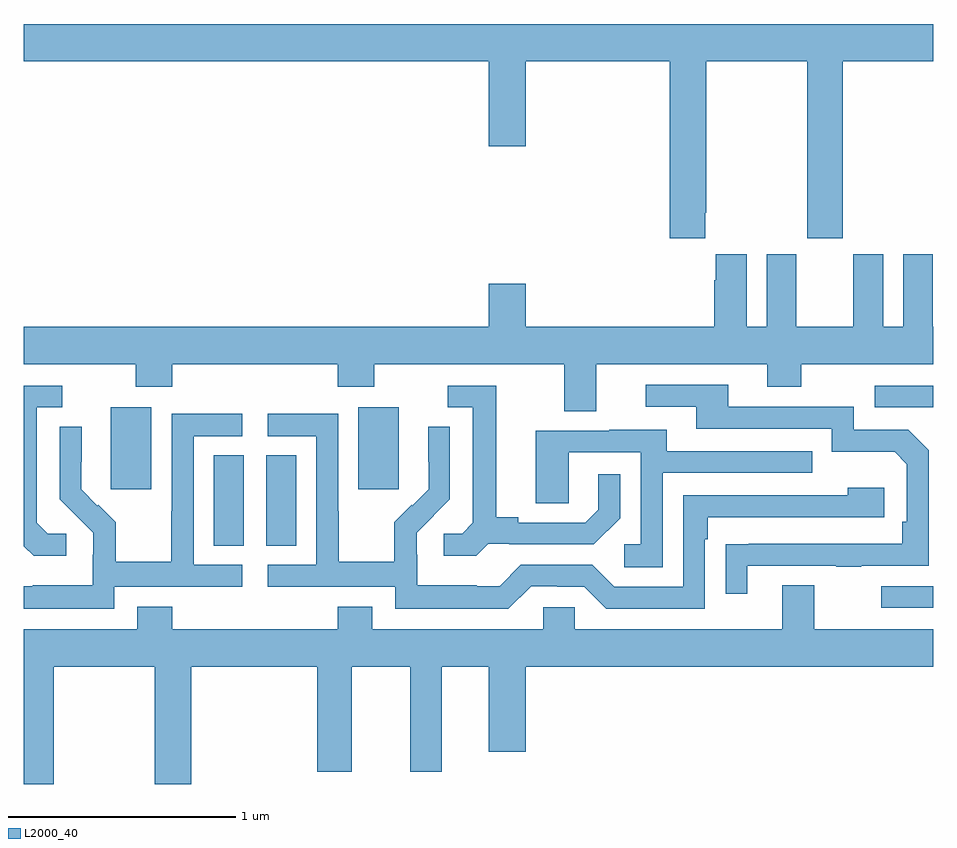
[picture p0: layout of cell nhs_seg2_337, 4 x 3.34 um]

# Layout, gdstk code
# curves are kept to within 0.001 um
import gdstk
lib = gdstk.Library(unit=1e-6, precision=1e-09)
def R(c, l, rs):  # rectangles x0, y0, x1, y1
    for r in rs: c.add(gdstk.rectangle(r[:2], r[2:], *l))
def P(c, l, *ps):  # polygons
    for p in ps: c.add(gdstk.Polygon(p, *l))
L2000_40 = (2000, 40)

nhs_seg2_337 = lib.new_cell('nhs_seg2_337')
R(nhs_seg2_337, L2000_40, [(130.773,634.575,131,634.671), (127.835,634.849,127.966,635.246), (128.066,634.849,128.197,635.246), (127.382,635.097,127.561,635.458), (128.471,635.097,128.65,635.458), (130.743,635.457,131,635.553)])
P(nhs_seg2_337, L2000_40, [(129.997,636.313),(130.002,636.313),(130.002,636.98),(130.447,636.98),(130.447,636.201),(130.602,636.201),(130.602,636.98),(131,636.98),(131,637.144),(127,637.144),(127,636.98),(129.044,636.98),(129.044,636.606),(129.208,636.606),(129.208,636.98),(129.842,636.98),(129.842,636.201),(129.997,636.201)],
  [(129.517,635.648),(130.271,635.648),(130.271,635.549),(130.419,635.549),(130.419,635.648),(131,635.648),(131,635.812),(130.999,635.812),(130.999,636.13),(130.868,636.13),(130.868,635.812),(130.78,635.812),(130.78,636.13),(130.649,636.13),(130.649,635.812),(130.399,635.812),(130.399,636.13),(130.268,636.13),(130.268,635.812),(130.18,635.812),(130.18,636.13),(130.043,636.13),(130.043,636.017),(130.037,636.017),(130.037,635.812),(129.208,635.812),(129.208,636.001),(129.044,636.001),(129.044,635.812),(127,635.812),(127,635.648),(127.492,635.648),(127.492,635.549),(127.652,635.549),(127.652,635.648),(128.381,635.648),(128.381,635.549),(128.541,635.549),(128.541,635.648),(129.377,635.648),(129.377,635.44),(129.517,635.44)],
  [(130.183,634.761),(130.573,634.761),(130.573,634.756),(130.685,634.756),(130.685,634.761),(130.98,634.761),(130.98,635.268),(130.89,635.358),(130.65,635.358),(130.65,635.46),(130.099,635.46),(130.099,635.556),(129.735,635.556),(129.735,635.46),(129.959,635.46),(129.959,635.364),(130.554,635.364),(130.554,635.261),(130.831,635.261),(130.884,635.208),(130.884,634.954),(130.864,634.954),(130.864,634.857),(130.087,634.856),(130.087,634.638),(130.183,634.638)],
  [(127.186,634.902),(127.104,634.902),(127.057,634.949),(127.057,635.457),(127.168,635.457),(127.168,635.553),(127,635.553),(127,634.847),(127.042,634.805),(127.186,634.805)],
  [(129.042,634.857),(129.136,634.857),(129.136,634.854),(129.508,634.854),(129.624,634.97),(129.624,635.164),(129.527,635.164),(129.527,635.007),(129.47,634.95),(129.175,634.95),(129.175,634.973),(129.079,634.973),(129.079,635.553),(128.864,635.553),(128.864,635.457),(128.975,635.457),(128.975,634.949),(128.928,634.902),(128.847,634.902),(128.847,634.805),(128.99,634.805)],
  [(129.231,634.671),(129.347,634.671),(129.347,634.668),(129.465,634.668),(129.561,634.572),(129.996,634.572),(129.996,634.877),(130.009,634.877),(130.009,634.974),(130.786,634.974),(130.786,635.104),(130.625,635.104),(130.625,635.07),(129.9,635.07),(129.9,634.668),(129.597,634.668),(129.501,634.764),(129.186,634.764),(129.093,634.671),(128.993,634.671),(128.993,634.675),(128.73,634.675),(128.73,634.809),(128.728,634.809),(128.728,634.906),(128.874,635.054),(128.874,635.372),(128.778,635.372),(128.778,635.218),(128.78,635.218),(128.78,635.096),(128.709,635.025),(128.706,635.028),(128.629,634.951),(128.629,634.777),(128.385,634.777),(128.385,635),(128.382,635),(128.382,635.43),(128.073,635.43),(128.073,635.331),(128.286,635.331),(128.286,634.764),(128.073,634.764),(128.073,634.668),(128.634,634.668),(128.634,634.571),(129.131,634.571)],
  [(127.398,634.668),(127.96,634.668),(127.96,634.764),(127.746,634.764),(127.746,635.331),(127.96,635.331),(127.96,635.43),(127.65,635.43),(127.65,635),(127.648,635),(127.648,634.777),(127.403,634.777),(127.403,634.951),(127.326,635.028),(127.323,635.025),(127.253,635.096),(127.254,635.372),(127.158,635.372),(127.158,635.054),(127.304,634.906),(127.304,634.809),(127.302,634.809),(127.302,634.675),(127.039,634.675),(127.039,634.671),(127,634.671),(127,634.571),(127.398,634.571)],
  [(129.81,635.169),(130.469,635.169),(130.469,635.265),(129.829,635.265),(129.829,635.359),(129.575,635.359),(129.575,635.355),(129.251,635.355),(129.251,635.035),(129.396,635.035),(129.396,635.259),(129.714,635.259),(129.714,634.854),(129.642,634.854),(129.642,634.753),(129.81,634.753)],
  [(127.131,634.316),(127.576,634.316),(127.576,633.8),(127.736,633.8),(127.736,634.316),(128.291,634.316),(128.291,633.855),(128.443,633.855),(128.443,634.316),(128.699,634.316),(128.699,633.855),(128.839,633.855),(128.839,634.316),(129.044,634.316),(129.044,633.942),(129.208,633.942),(129.208,634.316),(131,634.316),(131,634.48),(130.477,634.48),(130.477,634.675),(130.337,634.675),(130.337,634.48),(129.423,634.48),(129.423,634.578),(129.285,634.578),(129.285,634.48),(128.533,634.48),(128.533,634.579),(128.381,634.579),(128.381,634.48),(127.652,634.48),(127.652,634.579),(127.499,634.579),(127.499,634.48),(127,634.48),(127,633.8),(127.131,633.8)])

lib.write_gds('nhs_seg2_337.gds')
